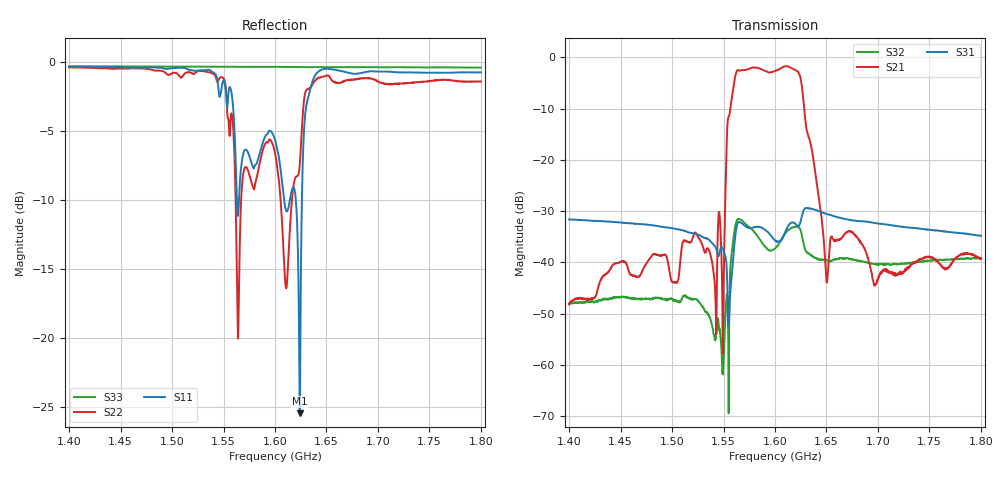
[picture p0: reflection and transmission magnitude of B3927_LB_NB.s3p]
! Matrix data file written by TouchstoneData, EPCOS AG
! FILENAME: "B3927_LB_NB.s3p"
! COMMENT: "unmatched GPS/GLONASS narrowband"
! INFO: nport=3, nfreq=1601
! DATE: "Thu Jul 12 14:02:21 2012"
! USER: "Daniel Harbusch"
! port | pin | signal
!  1  |  2  |  Input
!  2  |  4  |  GPS/GLONASS Output
!  3  |  6  |  SDARS Output
# MHZ S MA R 50
! freq  magS11 angS11  magS12 angS12  magS13 angS13  ...
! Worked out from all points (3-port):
!   1601 points, 1.4 GHz to 1.8 GHz, reference 50 ohm
!   strongest paths, dB at 1.4 GHz, 1.5 GHz, 1.6 GHz, 1.7 GHz, 1.8 GHz:
!     S31: -31.6, -33.3, -35.7, -32.4, -34.8
!     S21: -48.2, -43.8, -2.7, -43.3, -39.3
!     S32: -48.1, -47.2, -37.3, -40.4, -39.1
!   lowest |S11| = -25.5 dB at 1.624 GHz (marker M1), VSWR 1.11, Z = 46.1 + j3.34 ohm
!   |S11| at or under -10 dB: 1.562995 GHz to 1.564991 GHz (1.995 MHz wide, 0.128 % of centre); 1.608932 GHz to 1.614481 GHz (5.549 MHz wide, 0.344 % of centre); 1.620233 GHz to 1.626132 GHz (5.899 MHz wide, 0.363 % of centre)
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1400  0.961 -99.5  0.003894 171.6  0.02619 11.4
      0.003882 171.3  0.9562 -90.9  0.004001 -170.3
      0.02622 11.5  0.00395 -169.7  0.9661 -61.5
1541.75  0.9071 -132.9  0.005542 150.8  0.01434 -3.2
         0.005538 150.5  0.893 -149.2  0.001782 -164.8
         0.0143 -2.9  0.001729 -164.8  0.9621 -69.1
1549.75  0.8548 -134.9  0.003122 29.3  0.01333 -2.3
         0.003104 29.3  0.875 -169.5  0.0008918 -100.8
         0.01328 -1.9  0.0008909 -97.3  0.9618 -69.4
1561.75  0.4424 -167.7  0.6784 -144.8  0.01927 78.9
         0.6791 -144.8  0.3173 93.8  0.02348 -104.4
         0.01925 78.8  0.02349 -104.2  0.9617 -70.0
1577.25  0.4302 -120.9  0.7912 87.4  0.02165 32.4
         0.7917 87.4  0.364 117.5  0.02111 142.2
         0.02165 32.3  0.0212 142.2  0.9604 -70.7
1600  0.5239 -121.6  0.7357 -22.6  0.01634 26.6
      0.736 -22.7  0.4693 -92.1  0.01372 29.9
      0.01637 26.8  0.01365 30.1  0.961 -71.9
1613  0.2962 -102.2  0.812 -95.0  0.02274 47.1
      0.8121 -95.0  0.1948 76.8  0.02058 -54.3
      0.02283 47.2  0.02073 -54.1  0.96 -72.6
1624  0.05327 137.3  0.6695 174.9  0.02356 48.3
      0.6696 174.9  0.4221 13.4  0.0215 -124.2
      0.02355 48.4  0.02148 -124.0  0.9594 -73.2
1650.25  0.9466 -78.4  0.006391 143.3  0.0296 16.3
         0.006359 143.3  0.8939 -48.2  0.01052 -150.0
         0.02966 16.5  0.01049 -150.2  0.9591 -74.7
1800  0.9179 -108.0  0.01094 155.3  0.01811 2.9
      0.01089 155.1  0.8498 -83.5  0.01102 -174.5
      0.01817 2.8  0.01107 -174.7  0.9555 -82.9
